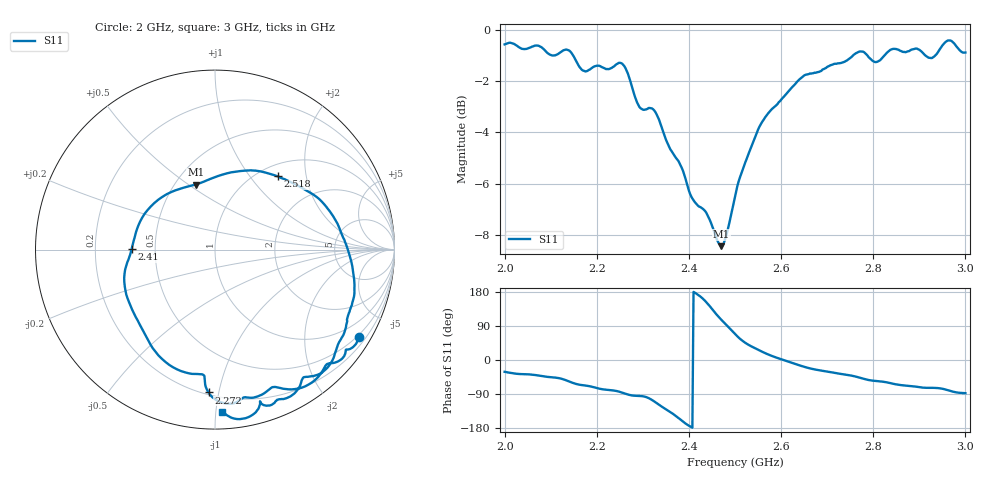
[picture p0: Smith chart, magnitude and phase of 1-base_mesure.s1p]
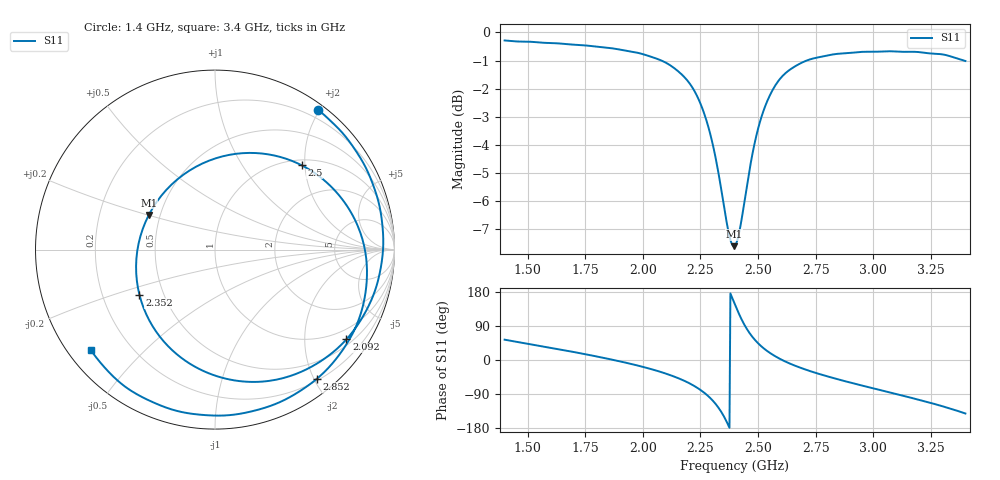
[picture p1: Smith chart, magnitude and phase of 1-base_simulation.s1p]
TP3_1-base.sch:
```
<Qucs Schematic 0.0.19>
<Properties>
  <View=0,-60,1320,800,1,0,0>
  <Grid=10,10,1>
  <DataSet=TP3_1-base.dat>
  <DataDisplay=TP3_1-base.dpl>
  <OpenDisplay=1>
  <Script=TP3_1-base.m>
  <RunScript=0>
  <showFrame=0>
  <FrameText0=Titre>
  <FrameText1=Auteur :>
  <FrameText2=Date :>
  <FrameText3=Version :>
</Properties>
<Symbol>
</Symbol>
<Components>
  <GND * 1 1090 220 0 0 0 0>
  <GND * 1 1020 220 0 0 0 0>
  <Pac P2 1 1020 190 -94 -26 1 1 "2" 1 "50 Ohm" 1 "0 dBm" 0 "1 GHz" 0 "26.85" 0>
  <SPfile X2 1 1090 160 -26 -67 0 0 "1-base_mesure.s1p" 1 "rectangular" 0 "linear" 0 "open" 0 "1" 0>
  <.SP SP1 1 80 70 0 77 0 0 "lin" 1 "2 GHz" 1 "3 GHz" 1 "400" 1 "no" 0 "1" 0 "2" 0 "no" 0 "no" 0>
  <Eqn Eqn1 1 320 110 -31 19 0 0 "S11_Simulation=S[1,1]" 1 "S11_Mesure=S[2,2]" 1 "dB_S11_Simulation=dB(S11_Simulation)" 1 "dB_S11_Mesure=dB(S11_Mesure)" 1 "yes" 0>
  <GND * 1 810 220 0 0 0 0>
  <GND * 1 740 220 0 0 0 0>
  <Pac P1 1 740 190 -94 -26 1 1 "1" 1 "50 Ohm" 1 "0 dBm" 0 "1 GHz" 0 "26.85" 0>
  <SPfile X1 1 810 160 -26 -67 0 0 "1-base_simulation.s1p" 1 "rectangular" 0 "linear" 0 "open" 0 "1" 0>
</Components>
<Wires>
  <1090 190 1090 220 "" 0 0 0 "">
  <1020 160 1060 160 "" 0 0 0 "">
  <810 190 810 220 "" 0 0 0 "">
  <740 160 780 160 "" 0 0 0 "">
</Wires>
<Diagrams>
</Diagrams>
<Paintings>
</Paintings>
```
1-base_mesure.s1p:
! ZVRE, 3.52
! symbol freq-unit parameter-type data-format keyword impedance-ohm
#  HZ  S  RI  R  50
! freq  reS11  imS11
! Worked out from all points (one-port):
!   401 points, 2 GHz to 3 GHz, reference 50 ohm
!   lowest |S11| = -8.4 dB at 2.47 GHz (marker M1), VSWR 2.22, Z = 31.5 + j26.7 ohm
!   |S11| at or under -10 dB: nowhere
!   S11 on the Smith chart (normalised r, x): 2 GHz: 0.44, -3.54; 2.272 GHz: 0.21, -0.93; 2.41 GHz: 0.37, +0.00; 2.518 GHz: 1.20, +1.38; 3 GHz: 0.10, -1.04
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2e9  0.8026 -0.4852
2.1225e9  0.5929 -0.6859
2.2725e9  -0.0362 -0.796
2.305e9  -0.0853 -0.6942
2.335e9  -0.3147 -0.5901
2.38e9  -0.4991 -0.2271
2.41e9  -0.4647 0.00251
2.4375e9  -0.3914 0.2007
2.47e9  -0.1078 0.3623
2.5175e9  0.3482 0.4084
2.5775e9  0.6823 0.145
2.6675e9  0.7548 -0.3289
2.845e9  0.4145 -0.8206
3e9  0.0384 -0.9034
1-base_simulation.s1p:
#  Hz  S  RI  R  50
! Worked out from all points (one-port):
!   501 points, 1.4 GHz to 3.4 GHz, reference 50 ohm
!   lowest |S11| = -7.6 dB at 2.396 GHz (marker M1), VSWR 2.43, Z = 21.6 + j10.1 ohm
!   |S11| at or under -10 dB: nowhere
!   S11 on the Smith chart (normalised r, x): 1.4 GHz: 0.08, +1.98; 2.092 GHz: 0.66, -3.11; 2.352 GHz: 0.36, -0.24; 2.5 GHz: 1.12, +1.92; 2.852 GHz: 0.23, -2.04; 3.4 GHz: 0.07, -0.35
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1.4e9  0.5741 0.7791
1.78e9  0.9257 0.1916
2.068e9  0.7781 -0.4433
2.092e9  0.7325 -0.4997
2.256e9  0.1074 -0.7285
2.352e9  -0.4208 -0.2524
2.396e9  -0.3685 0.1935
2.448e9  0.0423 0.5196
2.5e9  0.4822 0.4701
2.596e9  0.8264 0.0391
2.736e9  0.7672 -0.4667
2.852e9  0.5666 -0.7206
3.148e9  -0.1152 -0.9165
3.4e9  -0.6934 -0.5572
